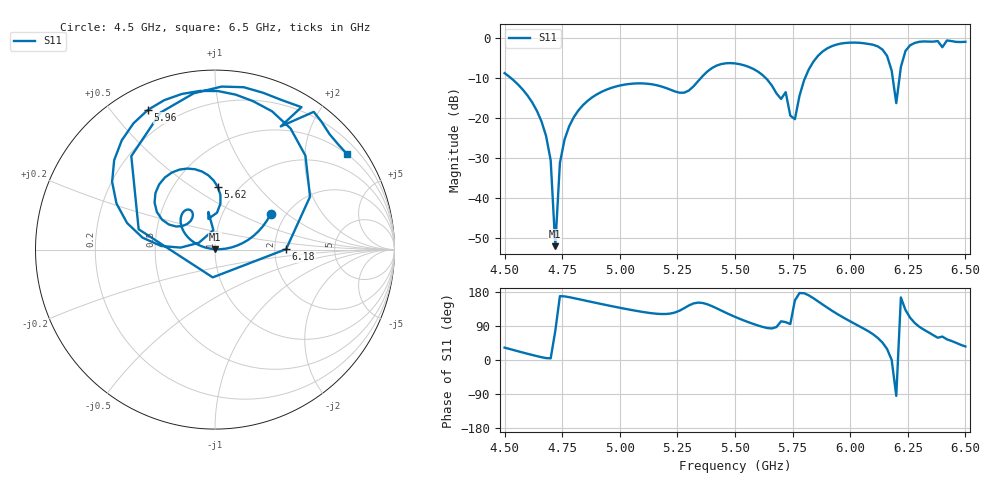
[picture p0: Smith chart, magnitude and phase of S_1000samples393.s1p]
! TOUCHSTONE file generated by CST MICROWAVE STUDIO
! Date and time: Fri Oct 28 00:34:03 2022
! Project name: L.cst
! Parameters = {Di=1.27; Epsilon_r=1.56; InnerDiameter=1.27; Length=2; Lf=10; Lg=60; OuterConductorThickness=0.2921; OuterDiameter=3.6; Wf=3; Wp=41.2; de=1.5; df=6.8; g=0.8; gx=2.12472; gy=1.76132; h=2.34; hf=1.524; px=14.4931; py=8.49634; w=9.7; wx=12.3684; wy=6.73502}
! Header version: 2018
! Port assignment regex: !\s*Touchstone port\s*([0-9]+)\s*=\s*(CST MWS port|CST DS port)\s*([0-9]+|Zmin|Zmax)\s*\(\"(.*)\"\)(\s*mode\s*([0-9]+))?.*
! Touchstone port assignment:
! Touchstone port 1 = CST MWS port 1 ("")
# GHz S DB R 50
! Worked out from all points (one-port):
!   101 points, 4.5 GHz to 6.5 GHz, reference 50 ohm
!   lowest |S11| = -52.0 dB at 4.72 GHz (marker M1), VSWR 1.01, Z = 50.1 + j0.246 ohm
!   |S11| at or under -10 dB: 4.529 GHz to 5.35 GHz (821 MHz wide, 16.6 % of centre); 5.635 GHz to 5.803 GHz (168.3 MHz wide, 2.94 % of centre); 6.184819 GHz to 6.213652 GHz (28.83 MHz wide, 0.465 % of centre)
!   S11 on the Smith chart (normalised r, x): 4.5 GHz: 1.68, +0.77; 5.62 GHz: 0.81, +0.64; 5.96 GHz: 0.10, +0.62; 6.18 GHz: 2.31, +0.01; 6.5 GHz: 0.50, +3.03
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4.5  -8.67 32.6
4.62  -16.02 13.2
4.68  -24.39 5.0
4.7  -30.49 4.4
4.72  -51.96 76.8
4.74  -31.15 168.4
4.76  -25.31 168.0
4.84  -16.69 158.1
5  -11.78 137.8
5.26  -13.57 130.3
5.4  -7.40 142.1
5.5  -6.24 113.9
5.62  -9.17 87.3
5.72  -13.44 99.9
5.76  -20.19 157.3
5.84  -5.82 163.2
5.9  -2.49 138.4
5.96  -1.27 115.6
6  -1.05 102.0
6.12  -1.99 58.0
6.18  -8.04 0.4
6.2  -16.18 -94.7
6.22  -7.13 165.1
6.26  -1.71 111.7
6.3  -0.83 87.7
6.38  -0.65 58.7
6.4  -2.18 61.9
6.5  -0.83 35.7
